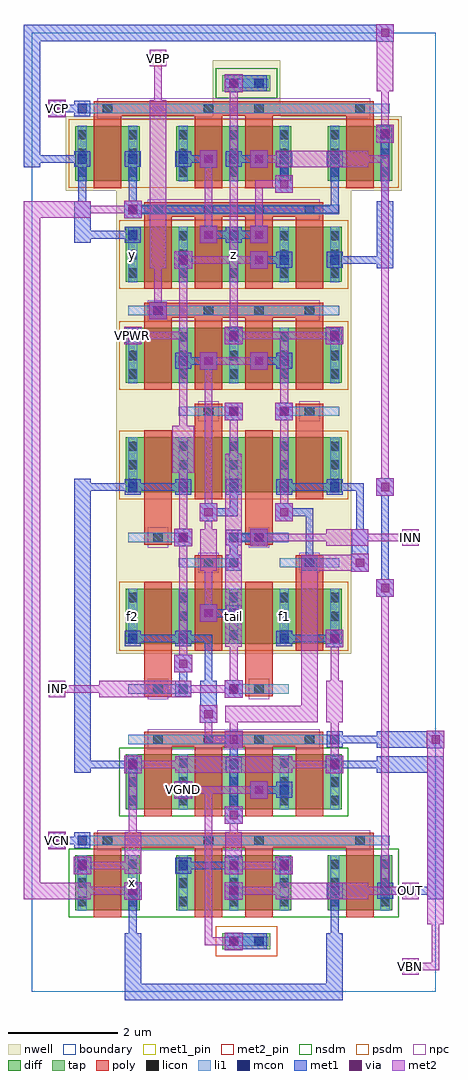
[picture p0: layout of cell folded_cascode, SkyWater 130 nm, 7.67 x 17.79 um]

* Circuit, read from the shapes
.subckt folded_cascode INN INP OUT VBN VBP VCN VCP VGND VPWR f1 f2 tail x y z
XM1 x VCN f1 VGND sky130_fd_pr__nfet_01v8 w=1 l=0.5 m=2
XM2 VGND VBN f1 VGND sky130_fd_pr__nfet_01v8 w=1 l=0.5 m=2
XM3 OUT VCN f2 VGND sky130_fd_pr__nfet_01v8 w=1 l=0.5 m=2
XM4 f2 VBN VGND VGND sky130_fd_pr__nfet_01v8 w=1 l=0.5 m=2
XM5 x VCP y VPWR sky130_fd_pr__pfet_01v8 w=1 l=0.5 m=2
XM6 f2 VPWR f2 VPWR sky130_fd_pr__pfet_01v8 w=1 l=0.5 m=2
XM7 f1 VPWR f1 VPWR sky130_fd_pr__pfet_01v8 w=1 l=0.5 m=2
XM8 tail VBP VPWR VPWR sky130_fd_pr__pfet_01v8 w=1 l=0.5 m=4
XM9 VPWR x y VPWR sky130_fd_pr__pfet_01v8 w=1 l=0.5 m=2
XM10 tail INN f2 VPWR sky130_fd_pr__pfet_01v8 w=1 l=0.5 m=2
XM11 tail INP f1 VPWR sky130_fd_pr__pfet_01v8 w=1 l=0.5 m=2
XM12 z x VPWR VPWR sky130_fd_pr__pfet_01v8 w=1 l=0.5 m=2
XM13 OUT VCP z VPWR sky130_fd_pr__pfet_01v8 w=1 l=0.5 m=2
.ends

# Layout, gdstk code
import gdstk
lib = gdstk.Library(unit=1e-6, precision=1e-09)
def R(c, l, rs):  # rectangles x0, y0, x1, y1
    for r in rs: c.add(gdstk.rectangle(r[:2], r[2:], *l))
def A(c, l, x, y, w, h, nx, ny, dx, dy):  # array of equal rectangles
    R(c, l, [(x+i*dx, y+j*dy, x+i*dx+w, y+j*dy+h) for i in range(nx) for j in range(ny)])
nwell = (64, 20)
diff = (65, 20)
tap = (65, 44)
poly = (66, 20)
licon = (66, 44)
li1 = (67, 20)
mcon = (67, 44)
met1_pin = (68, 16)
met1 = (68, 20)
via = (68, 44)
met2_pin = (69, 16)
met2 = (69, 20)
nsdm = (93, 44)
psdm = (94, 20)
npc = (95, 20)
boundary = (235, 4)

folded_cascode = lib.new_cell('folded_cascode')
R(folded_cascode, nwell, [(1.535,6.165,5.825,14.6), (0.615,14.6,6.745,15.96), (3.295,15.96,4.525,16.98)])
R(folded_cascode, diff, [(0.795,1.485,1.965,2.485), (2.635,1.485,4.725,2.485), (5.395,1.485,6.565,2.485), (1.715,3.325,5.645,4.325), (1.715,6.345,5.645,7.345), (1.715,9.105,5.645,10.105), (1.715,11.1,5.645,12.1), (1.715,12.94,5.645,13.94), (0.795,14.78,1.965,15.78), (2.635,14.78,4.725,15.78), (5.395,14.78,6.565,15.78)])
R(folded_cascode, tap, [(3.475,0.775,4.345,1.065), (3.475,16.415,4.345,16.705)])
A(folded_cascode, poly, 2.05, 3.195, 0.5, 1.405, 4, 1, 0.92, 0)
A(folded_cascode, poly, 2.05, 10.97, 0.5, 1.45, 4, 2, 0.92, 1.84)
R(folded_cascode, poly, [(1.13,1.355,1.63,2.76), (2.97,1.355,3.47,2.76), (3.89,1.355,4.39,2.76), (5.73,1.355,6.23,2.76), (1.13,2.625,6.23,2.895), (2.05,4.465,5.31,4.735), (2.05,5.385,2.55,5.655), (3.89,5.385,4.39,5.655), (2.05,5.52,2.55,7.475), (3.89,5.52,4.39,7.475), (2.97,6.215,3.47,7.82), (4.81,6.215,5.31,7.82), (2.97,7.685,3.47,7.955), (4.81,7.685,5.31,7.955), (2.05,8.145,2.55,8.415), (3.89,8.145,4.39,8.415), (2.05,8.28,2.55,10.235), (3.89,8.28,4.39,10.235), (2.97,8.975,3.47,10.58), (4.81,8.975,5.31,10.58), (2.97,10.445,3.47,10.715), (4.81,10.445,5.31,10.715), (2.05,12.285,5.31,12.555), (2.05,14.125,5.31,14.395), (1.13,14.65,1.63,16.1), (2.97,14.65,3.47,16.1), (3.89,14.65,4.39,16.1), (5.73,14.65,6.23,16.1), (1.13,15.965,6.23,16.235)])
A(folded_cascode, licon, 0.835, 1.56, 0.17, 0.17, 7, 3, 0.92, 0.34)
A(folded_cascode, licon, 4.055, 2.675, 0.17, 0.17, 1, 3, 0, 2.76)
A(folded_cascode, licon, 1.755, 3.4, 0.17, 0.17, 5, 3, 0.92, 0.34)
A(folded_cascode, licon, 2.215, 4.515, 0.17, 0.17, 4, 2, 0.92, 7.82)
A(folded_cascode, licon, 1.755, 6.42, 0.17, 0.17, 5, 3, 0.92, 0.34)
A(folded_cascode, licon, 1.755, 9.18, 0.17, 0.17, 5, 3, 0.92, 0.34)
A(folded_cascode, licon, 1.755, 11.175, 0.17, 0.17, 5, 3, 0.92, 0.34)
A(folded_cascode, licon, 1.755, 13.015, 0.17, 0.17, 5, 3, 0.92, 0.34)
A(folded_cascode, licon, 2.215, 14.175, 0.17, 0.17, 4, 1, 0.92, 0)
A(folded_cascode, licon, 0.835, 14.855, 0.17, 0.17, 7, 3, 0.92, 0.34)
R(folded_cascode, licon, [(3.595,0.835,3.765,1.005), (4.055,0.835,4.225,1.005), (1.295,2.675,1.465,2.845), (3.135,2.675,3.305,2.845), (5.895,2.675,6.065,2.845), (2.215,5.435,2.385,5.605), (3.135,7.735,3.305,7.905), (4.975,7.735,5.145,7.905), (2.215,8.195,2.385,8.365), (3.135,10.495,3.305,10.665), (4.975,10.495,5.145,10.665), (1.295,16.015,1.465,16.185), (3.135,16.015,3.305,16.185), (4.055,16.015,4.225,16.185), (5.895,16.015,6.065,16.185), (3.595,16.475,3.765,16.645), (4.055,16.475,4.225,16.645)])
A(folded_cascode, li1, 0.835, 1.48, 0.17, 1.01, 7, 2, 0.92, 13.295)
A(folded_cascode, li1, 1.755, 3.32, 0.17, 1.01, 5, 2, 0.92, 3.02)
A(folded_cascode, li1, 1.755, 9.1, 0.17, 1.01, 5, 2, 0.92, 1.995)
A(folded_cascode, li1, 1.755, 12.935, 0.17, 1.01, 5, 1, 0.92, 0)
R(folded_cascode, li1, [(3.515,0.835,4.305,1.005), (0.835,2.675,6.525,2.845), (1.755,4.515,5.605,4.685), (1.755,5.435,2.845,5.605), (3.595,5.435,4.685,5.605), (2.675,7.735,3.765,7.905), (4.515,7.735,5.605,7.905), (1.755,8.195,2.845,8.365), (3.595,8.195,4.685,8.365), (2.675,10.495,3.765,10.665), (4.515,10.495,5.605,10.665), (1.755,12.335,5.605,12.505), (1.755,14.175,5.605,14.345), (0.835,16.015,6.525,16.185), (3.515,16.475,4.305,16.645)])
A(folded_cascode, mcon, 1.755, 1.755, 0.17, 0.17, 3, 2, 1.84, 2.3)
A(folded_cascode, mcon, 0.835, 2.215, 0.17, 0.17, 3, 1, 1.84, 0)
A(folded_cascode, mcon, 1.755, 9.115, 0.17, 0.17, 5, 1, 0.92, 0)
A(folded_cascode, mcon, 1.755, 11.875, 0.17, 0.17, 3, 1, 1.84, 0)
A(folded_cascode, mcon, 0.835, 15.095, 0.17, 0.17, 6, 1, 0.92, 0)
R(folded_cascode, mcon, [(3.595,0.835,3.765,1.005), (4.055,0.835,4.225,1.005), (6.355,1.755,6.525,1.925), (0.835,2.675,1.005,2.845), (2.675,3.595,2.845,3.765), (4.515,3.595,4.685,3.765), (5.435,4.515,5.605,4.685), (2.675,5.435,2.845,5.605), (3.595,5.435,3.765,5.605), (1.755,6.355,1.925,6.525), (2.675,6.355,2.845,6.525), (4.515,6.355,4.685,6.525), (5.435,6.355,5.605,6.525), (3.595,6.815,3.765,6.985), (3.595,7.735,3.765,7.905), (4.975,7.735,5.145,7.905), (2.675,8.195,2.845,8.365), (3.595,8.195,3.765,8.365), (3.595,10.495,3.765,10.665), (4.515,10.495,4.685,10.665), (2.675,11.415,2.845,11.585), (4.515,11.415,4.685,11.585), (2.215,12.335,2.385,12.505), (2.675,13.255,2.845,13.425), (4.515,13.255,4.685,13.425), (5.435,13.255,5.605,13.425), (1.755,13.715,1.925,13.885), (3.595,13.715,3.765,13.885), (1.755,14.175,1.925,14.345), (6.355,15.555,6.525,15.725), (0.835,16.015,1.005,16.185), (3.595,16.475,3.765,16.645), (4.055,16.475,4.225,16.645)])
R(folded_cascode, met1_pin, [(2.615,3.535,2.905,3.825), (1.695,11.815,1.985,12.105)])
A(folded_cascode, met1, 1.695, 1.695, 0.29, 0.29, 3, 2, 1.84, 2.3)
A(folded_cascode, met1, 0.775, 2.155, 0.29, 0.29, 3, 1, 1.84, 0)
A(folded_cascode, met1, 2.6, 3.52, 0.32, 0.32, 1, 3, 0, 2.3)
A(folded_cascode, met1, 3.06, 4.9, 0.32, 0.32, 1, 3, 0, 1.84)
A(folded_cascode, met1, 1.695, 9.055, 0.29, 0.29, 5, 1, 0.92, 0)
A(folded_cascode, met1, 1.68, 11.8, 0.32, 0.32, 3, 1, 1.84, 0)
A(folded_cascode, met1, 1.695, 11.815, 0.29, 0.29, 3, 1, 1.84, 0)
A(folded_cascode, met1, 0.775, 15.035, 0.29, 0.29, 6, 1, 0.92, 0)
R(folded_cascode, met1, [(1.69,-0.15,5.67,0.15), (1.69,-0.15,1.99,1.07), (5.37,-0.15,5.67,1.07), (3.52,0.76,3.84,1.08), (3.535,0.775,4.285,1.065), (1.77,0.85,1.91,1.91), (3.61,0.85,3.75,0.99), (5.45,0.85,5.59,1.91), (1.68,1.68,2,2), (3.52,1.68,3.84,2), (7.21,1.69,7.51,4.29), (6.295,1.695,6.585,1.985), (6.37,1.77,7.43,1.91), (0.76,2.14,1.08,2.46), (3.52,2.14,3.84,2.46), (4.44,2.14,4.76,2.46), (2.69,2.23,3.75,2.37), (0.3,2.6,0.62,2.92), (0.775,2.615,1.065,2.905), (0.39,2.69,0.99,2.83), (3.52,3.06,3.84,3.38), (3.61,3.15,3.75,4.21), (3.98,3.52,4.3,3.84), (2.615,3.535,2.905,3.825), (4.455,3.535,4.745,3.825), (4.07,3.61,4.67,3.75), (1.68,3.98,2,4.3), (5.36,3.98,5.68,4.3), (0.77,3.99,1.07,9.35), (6.29,3.99,7.51,4.29), (0.85,4.07,1.91,4.21), (3.61,4.07,3.75,4.67), (5.45,4.07,6.51,4.21), (3.52,4.44,3.84,4.76), (7.2,4.44,7.52,4.76), (6.29,4.45,7.51,4.75), (5.375,4.455,5.665,4.745), (5.45,4.53,6.51,4.67), (3.07,4.91,3.37,5.67), (3.52,5.36,3.84,5.68), (2.615,5.375,2.905,5.665), (3.535,5.375,3.825,5.665), (2.69,5.45,2.83,6.05), (3.15,5.45,3.29,6.51), (5.36,6.28,5.68,6.6), (1.695,6.295,1.985,6.585), (2.615,6.295,2.905,6.585), (4.455,6.295,4.745,6.585), (5.375,6.295,5.665,6.585), (1.77,6.37,2.83,6.51), (2.69,6.37,3.29,6.51), (4.53,6.37,5.59,6.51), (3.535,6.755,3.825,7.045), (3.15,6.83,3.75,6.97), (6.28,7.2,6.6,7.52), (6.37,7.29,6.51,9.27), (5.82,7.66,6.14,7.98), (5.83,7.67,6.13,8.43), (3.535,7.675,3.825,7.965), (4.915,7.675,5.205,7.965), (3.61,7.75,3.75,8.35), (4.99,7.75,5.13,8.81), (3.98,8.12,4.3,8.44), (2.615,8.135,2.905,8.425), (3.535,8.135,3.825,8.425), (3.61,8.21,4.21,8.35), (5.91,8.21,6.05,9.27), (4.44,8.58,4.76,8.9), (3.15,8.67,3.75,8.81), (3.61,8.67,3.75,9.27), (4.53,8.67,5.13,8.81), (6.28,9.04,6.6,9.36), (0.85,9.13,1.91,9.27), (1.77,9.13,2.83,9.27), (4.53,9.13,5.59,9.27), (5.45,9.13,6.05,9.27), (3.52,10.42,3.84,10.74), (4.44,10.42,4.76,10.74), (3.535,10.435,3.825,10.725), (4.455,10.435,4.745,10.725), (3.06,11.34,3.38,11.66), (3.98,11.34,4.3,11.66), (2.615,11.355,2.905,11.645), (4.455,11.355,4.745,11.645), (2.69,11.43,3.29,11.57), (4.07,11.43,4.67,11.57), (2.14,12.26,2.46,12.58), (2.155,12.275,2.445,12.565), (2.6,13.18,2.92,13.5), (3.98,13.18,4.3,13.5), (6.29,13.19,6.59,14.41), (2.615,13.195,2.905,13.485), (4.455,13.195,4.745,13.485), (5.375,13.195,5.665,13.485), (4.07,13.27,4.67,13.41), (5.45,13.27,6.51,13.41), (3.06,13.64,3.38,13.96), (3.98,13.64,4.3,13.96), (0.77,13.65,1.07,14.41), (1.695,13.655,1.985,13.945), (3.535,13.655,3.825,13.945), (0.85,13.73,1.91,13.87), (3.15,13.73,3.75,13.87), (3.61,13.73,4.21,13.87), (1.68,14.1,2,14.42), (1.695,14.115,1.985,14.405), (0.85,14.19,0.99,15.25), (1.77,14.19,1.91,15.25), (1.77,14.19,5.59,14.33), (5.45,14.19,5.59,15.25), (6.37,14.19,6.51,15.71), (4.44,14.56,4.76,14.88), (4.53,14.65,4.67,15.25), (3.06,15.02,3.38,15.34), (3.98,15.02,4.3,15.34), (-0.15,15.03,0.15,17.63), (-0.07,15.11,0.99,15.25), (2.69,15.11,3.29,15.25), (3.61,15.11,4.21,15.25), (6.28,15.48,6.6,15.8), (6.295,15.495,6.585,15.785), (0.3,15.94,0.62,16.26), (0.775,15.955,1.065,16.245), (0.39,16.03,0.99,16.17), (3.52,16.4,3.84,16.72), (3.535,16.415,4.285,16.705), (3.61,16.49,3.75,16.63), (6.28,17.32,6.6,17.64), (-0.15,17.33,6.59,17.63)])
A(folded_cascode, via, 2.685, 3.605, 0.15, 0.15, 1, 3, 0, 2.3)
A(folded_cascode, via, 3.145, 4.985, 0.15, 0.15, 1, 3, 0, 1.84)
A(folded_cascode, via, 1.765, 11.885, 0.15, 0.15, 3, 1, 1.84, 0)
R(folded_cascode, via, [(3.605,0.845,3.755,0.995), (1.765,1.765,1.915,1.915), (3.605,1.765,3.755,1.915), (0.845,2.225,0.995,2.375), (3.605,2.225,3.755,2.375), (4.525,2.225,4.675,2.375), (0.385,2.685,0.535,2.835), (3.605,3.145,3.755,3.295), (4.065,3.605,4.215,3.755), (1.765,4.065,1.915,4.215), (5.445,4.065,5.595,4.215), (3.605,4.525,3.755,4.675), (7.285,4.525,7.435,4.675), (3.605,5.445,3.755,5.595), (5.445,6.365,5.595,6.515), (6.365,7.285,6.515,7.435), (5.905,7.745,6.055,7.895), (4.065,8.205,4.215,8.355), (4.525,8.665,4.675,8.815), (6.365,9.125,6.515,9.275), (3.605,10.505,3.755,10.655), (4.525,10.505,4.675,10.655), (3.145,11.425,3.295,11.575), (4.065,11.425,4.215,11.575), (2.225,12.345,2.375,12.495), (2.685,13.265,2.835,13.415), (4.065,13.265,4.215,13.415), (3.145,13.725,3.295,13.875), (4.065,13.725,4.215,13.875), (1.765,14.185,1.915,14.335), (4.525,14.645,4.675,14.795), (3.145,15.105,3.295,15.255), (4.065,15.105,4.215,15.255), (6.365,15.565,6.515,15.715), (0.385,16.025,0.535,16.175), (3.605,16.485,3.755,16.635), (6.365,17.405,6.515,17.555)])
R(folded_cascode, met2_pin, [(6.75,0.31,7.05,0.61), (6.75,1.69,7.05,1.99), (0.31,2.61,0.61,2.91), (0.31,5.37,0.61,5.67), (6.75,8.13,7.05,8.43), (0.31,15.95,0.61,16.25), (2.15,16.87,2.45,17.17)])
A(folded_cascode, met2, 2.6, 3.52, 0.32, 0.32, 1, 3, 0, 2.3)
A(folded_cascode, met2, 3.06, 4.9, 0.32, 0.32, 1, 3, 0, 1.84)
A(folded_cascode, met2, 1.68, 11.8, 0.32, 0.32, 3, 1, 1.84, 0)
R(folded_cascode, met2, [(6.75,0.31,7.05,0.61), (6.83,0.39,7.43,0.53), (6.83,0.39,6.97,0.53), (7.29,0.39,7.43,1.45), (3.52,0.76,3.84,1.08), (3.15,0.85,3.75,0.99), (3.15,0.85,3.29,3.75), (7.21,1.23,7.51,4.75), (1.68,1.68,2,2), (3.52,1.68,3.84,2), (-0.15,1.69,0.15,14.41), (-0.15,1.69,1.07,1.99), (4.45,1.69,6.13,1.99), (6.75,1.69,7.05,1.99), (0.85,1.77,1.91,1.91), (3.61,1.77,4.67,1.91), (5.91,1.77,6.97,1.91), (6.37,1.77,6.51,7.43), (6.83,1.77,6.97,1.91), (0.76,2.14,1.08,2.46), (3.52,2.14,3.84,2.46), (4.44,2.14,4.76,2.46), (1.69,2.15,1.99,2.91), (3.53,2.15,3.83,2.91), (0.85,2.23,1.91,2.37), (3.61,2.23,4.67,2.37), (0.3,2.6,0.62,2.92), (0.31,2.61,0.61,2.91), (0.39,2.69,0.53,2.83), (1.77,2.69,1.91,4.21), (3.61,2.69,3.75,3.29), (3.52,3.06,3.84,3.38), (3.98,3.52,4.3,3.84), (2.69,3.61,4.21,3.75), (1.68,3.98,2,4.3), (5.36,3.98,5.68,4.3), (2.61,3.99,4.75,4.29), (1.77,4.07,2.83,4.21), (4.53,4.07,5.59,4.21), (5.45,4.07,5.59,5.13), (3.52,4.44,3.84,4.76), (7.2,4.44,7.52,4.76), (3.15,4.53,3.75,4.67), (3.15,4.53,3.29,5.13), (3.61,4.53,3.75,5.13), (3.53,4.91,5.21,5.21), (4.91,4.91,5.21,7.97), (5.37,4.91,5.67,5.67), (3.52,5.36,3.84,5.68), (0.31,5.37,0.61,5.67), (1.23,5.37,2.91,5.67), (0.39,5.45,1.45,5.59), (0.39,5.45,0.53,5.59), (2.69,5.45,3.75,5.59), (3.61,5.45,3.75,6.51), (5.45,5.45,5.59,6.51), (2.69,5.91,2.83,8.35), (5.36,6.28,5.68,6.6), (3.53,6.29,3.83,9.81), (3.15,6.83,3.29,7.89), (6.28,7.2,6.6,7.52), (5.82,7.66,6.14,7.98), (3.07,7.67,3.37,8.43), (4.91,7.67,6.13,7.97), (3.98,8.12,4.3,8.44), (5.37,8.13,6.13,8.43), (6.75,8.13,7.05,8.43), (2.69,8.21,2.83,9.73), (3.15,8.21,3.29,8.81), (4.07,8.21,5.59,8.35), (5.91,8.21,6.97,8.35), (6.83,8.21,6.97,8.35), (4.44,8.58,4.76,8.9), (3.15,8.67,3.29,11.57), (4.53,8.67,4.67,10.65), (6.28,9.04,6.6,9.36), (6.37,9.13,6.51,15.25), (2.56,9.46,2.96,10.32), (3.61,9.59,3.75,10.65), (2.69,10.05,2.83,12.03), (3.52,10.42,3.84,10.74), (4.44,10.42,4.76,10.74), (4.53,10.51,4.67,12.03), (3.06,11.34,3.38,11.66), (3.98,11.34,4.3,11.66), (3.15,11.43,4.21,11.57), (1.77,11.89,2.83,12.03), (2.69,11.89,2.83,13.41), (3.61,11.89,3.75,13.41), (3.61,11.89,5.59,12.03), (2.14,12.26,2.46,12.58), (2.23,12.35,2.37,13.41), (2.6,13.18,2.92,13.5), (3.98,13.18,4.3,13.5), (2.15,13.19,2.45,16.25), (2.69,13.27,4.21,13.41), (3.61,13.27,3.75,16.63), (3.06,13.64,3.38,13.96), (3.98,13.64,4.3,13.96), (3.15,13.73,3.29,15.25), (4.07,13.73,4.21,14.79), (1.68,14.1,2,14.42), (-0.15,14.11,1.07,14.41), (0.85,14.19,1.91,14.33), (4.44,14.56,4.76,14.88), (4.07,14.65,4.67,14.79), (3.06,15.02,3.38,15.34), (3.98,15.02,4.3,15.34), (4.45,15.03,6.13,15.33), (4.07,15.11,4.67,15.25), (5.91,15.11,6.51,15.25), (6.28,15.48,6.6,15.8), (6.37,15.57,6.51,16.63), (0.3,15.94,0.62,16.26), (0.31,15.95,0.61,16.25), (0.39,16.03,0.53,16.17), (2.23,16.03,2.37,17.09), (3.52,16.4,3.84,16.72), (6.29,16.41,6.59,17.63), (2.15,16.87,2.45,17.17), (2.23,16.95,2.37,17.09), (6.28,17.32,6.6,17.64)])
R(folded_cascode, nsdm, [(0.67,1.36,6.69,2.61), (1.59,3.2,5.77,4.45), (3.35,16.29,4.47,16.83)])
R(folded_cascode, psdm, [(3.35,0.65,4.47,1.19), (1.59,6.22,5.77,7.47), (1.59,8.98,5.77,10.23), (1.59,10.975,5.77,12.225), (1.59,12.815,5.77,14.065), (0.67,14.655,6.69,15.905)])
R(folded_cascode, npc, [(1.195,2.575,6.165,2.945), (2.115,4.415,5.245,4.785), (2.115,5.335,2.485,5.705), (3.955,5.335,4.325,5.705), (3.035,7.635,3.405,8.005), (4.875,7.635,5.245,8.005), (2.115,8.095,2.485,8.465), (3.955,8.095,4.325,8.465), (3.035,10.395,3.405,10.765), (4.875,10.395,5.245,10.765), (2.115,12.235,5.245,12.605), (2.115,14.075,5.245,14.445), (1.195,15.915,6.165,16.285)])
R(folded_cascode, boundary, [(0,0,7.36,17.48)])
folded_cascode.add(gdstk.Label('f2', (1.84,6.845), layer=67, texttype=5))
folded_cascode.add(gdstk.Label('tail', (3.68,6.845), layer=67, texttype=5))
folded_cascode.add(gdstk.Label('f1', (4.6,6.845), layer=67, texttype=5))
folded_cascode.add(gdstk.Label('x', (1.84,1.985), layer=67, texttype=5))
folded_cascode.add(gdstk.Label('y', (1.84,13.44), layer=67, texttype=5))
folded_cascode.add(gdstk.Label('z', (3.68,13.44), layer=67, texttype=5))
folded_cascode.add(gdstk.Label('VPWR', (1.84,11.96), layer=68, texttype=5))
folded_cascode.add(gdstk.Label('VGND', (2.76,3.68), layer=68, texttype=5))
folded_cascode.add(gdstk.Label('INP', (0.46,5.52), layer=69, texttype=5))
folded_cascode.add(gdstk.Label('INN', (6.9,8.28), layer=69, texttype=5))
folded_cascode.add(gdstk.Label('VBP', (2.3,17.02), layer=69, texttype=5))
folded_cascode.add(gdstk.Label('VBN', (6.9,0.46), layer=69, texttype=5))
folded_cascode.add(gdstk.Label('VCN', (0.46,2.76), layer=69, texttype=5))
folded_cascode.add(gdstk.Label('VCP', (0.46,16.1), layer=69, texttype=5))
folded_cascode.add(gdstk.Label('OUT', (6.9,1.84), layer=69, texttype=5))
folded_cascode.add(gdstk.Label('VPWR', (1.84,11.96), layer=68, texttype=16))
folded_cascode.add(gdstk.Label('VGND', (2.76,3.68), layer=68, texttype=16))
folded_cascode.add(gdstk.Label('INP', (0.46,5.52), layer=69, texttype=16))
folded_cascode.add(gdstk.Label('INN', (6.9,8.28), layer=69, texttype=16))
folded_cascode.add(gdstk.Label('VBP', (2.3,17.02), layer=69, texttype=16))
folded_cascode.add(gdstk.Label('VBN', (6.9,0.46), layer=69, texttype=16))
folded_cascode.add(gdstk.Label('VCN', (0.46,2.76), layer=69, texttype=16))
folded_cascode.add(gdstk.Label('VCP', (0.46,16.1), layer=69, texttype=16))
folded_cascode.add(gdstk.Label('OUT', (6.9,1.84), layer=69, texttype=16))

lib.write_gds('folded_cascode.gds')
